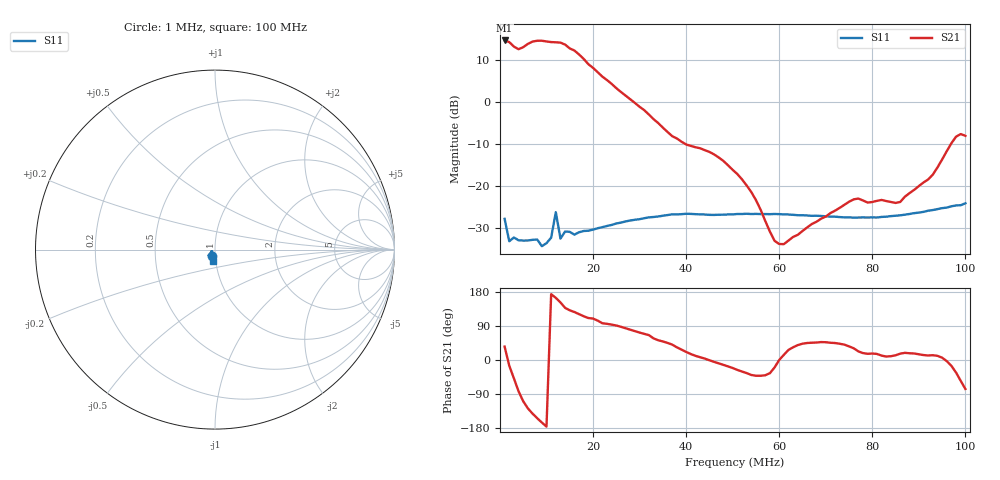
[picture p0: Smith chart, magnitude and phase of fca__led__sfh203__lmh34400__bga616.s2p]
# HZ S RI R 50
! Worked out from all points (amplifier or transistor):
!   100 points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, 1 MHz to 100 MHz, reference 50 ohm
!   highest |S21| = 14.7 dB at 1 MHz (marker M1)
!   |S21| within 3 dB of that: start of sweep to 16.63 MHz
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1000001  -0.0168 -0.0368  4.41 3.127  0 0  0 0
2000001  -0.0173 -0.0135  4.987 -1.351  0 0  0 0
3000001  -0.0189 -0.0152  3.026 -3.421  0 0  0 0
4000001  -0.0203 -0.00968  0.5462 -4.215  0 0  0 0
5000001  -0.0193 -0.0111  -1.459 -4.254  0 0  0 0
6000001  -0.0192 -0.0115  -3.009 -3.898  0 0  0 0
7000001  -0.0198 -0.0113  -4.1 -3.266  0 0  0 0
8000001  -0.0147 -0.0176  -4.805 -2.382  0 0  0 0
1e7  -0.0164 -0.0127  -5.247 -0.384  0 0  0 0
1.2e7  -0.0351 -0.0337  -4.942 1.423  0 0  0 0
1.3e7  -0.0185 -0.0145  -4.489 2.402  0 0  0 0
1.4e7  -0.0234 -0.0165  -3.566 3.253  0 0  0 0
1.6e7  -0.0191 -0.018  -2.444 3.292  0 0  0 0
1.8e7  -0.0204 -0.0206  -1.397 2.944  0 0  0 0
2.2e7  -0.0225 -0.0231  -0.2431 1.99  0 0  0 0
3.4e7  -0.029 -0.032  0.3442 0.4429  0 0  0 0
5.1e7  -0.0327 -0.0327  0.1242 -0.061  0 0  0 0
6e7  -0.0344 -0.0307  0.0203 3.86e-05  0 0  0 0
6.7e7  -0.0319 -0.0303  0.0246 0.0251  0 0  0 0
8.4e7  -0.0199 -0.0388  0.0633 0.0112  0 0  0 0
9.5e7  -0.0133 -0.0527  0.205 0.0216  0 0  0 0
1e8  -0.0128 -0.0607  0.0924 -0.384  0 0  0 0
